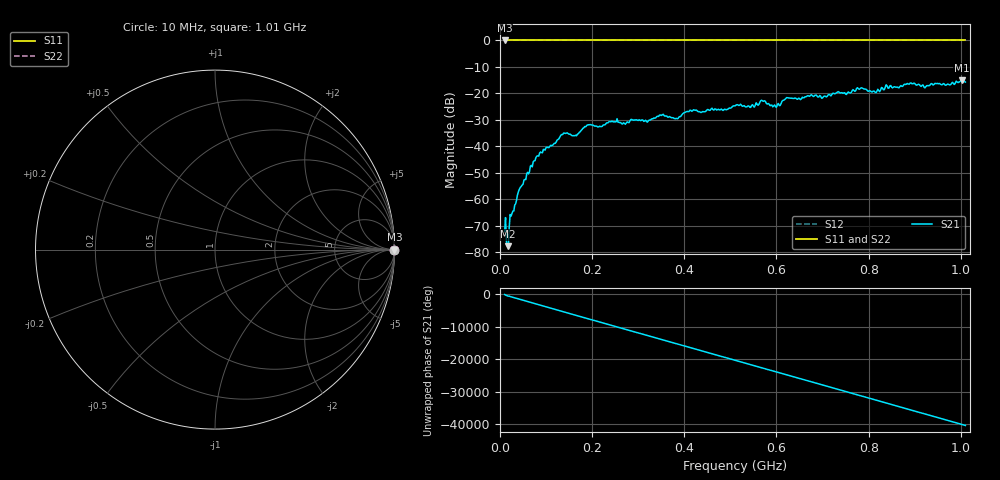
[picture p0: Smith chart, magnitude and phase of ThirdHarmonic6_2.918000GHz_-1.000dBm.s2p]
! 8/17/2025 8:06:50 AM
! C:\ANRITSUVNA\TEMP\TEMP.S2P
! CHANNEL.1
! TR.MEASUREMENT
! RAW.DATA
! RF.CORRECTION.OFF
! AVERAGING.OFF
! IF.BANDWIDTH: 5KHZ
! SWEEPTYPE:  FREQ.SWEEP(Linear)
! Reference Plane Port Info
! PORT:  PORT1  PORT2
! DISTANCE:  0  m  0  m
! TIME:  0  s  0  s
! PHASE.OFFSET:  0  deg.  0  deg.
! LOSS:  0  dB  0  dB
! REF.LOSS:  0  dB  0  dB
! REF.FREQ:  0  Hz  0  Hz
! Power Info
! POWER:  -20  dBm  -20  dBm
! EFF.POWER:  -20  dBm  -20  dBm
! SOURCE.ATTEN:  0  dB  0  dB
! TEST.ATTEN:  0  dB  0  dB
# GHZ S RI R 50.0
! FREQ.GHZ  S11RE  S11IM  S21RE  S21IM  S12RE  S12IM  S22RE  S22IM
!; PortSelection: Port_12
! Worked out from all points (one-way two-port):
!   501 points, 10 MHz to 1.01 GHz, reference 50 ohm
!   highest |S21| = -15.05 dB at 1.002 GHz (marker M1); lowest = -77.7 dB at 18 MHz (marker M2)
!   lowest |S11| = 0.0 dB at 10 MHz (marker M3)
!   |S11| at or under -10 dB: nowhere
!   |S22| runs from 0.0 to 0.0 dB; largest |S21 - S12| = 1.2
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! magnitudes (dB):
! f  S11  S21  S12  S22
! 10 MHz  0.0  -72.4  0.0  0.0
! 14 MHz  0.0  -76.0  0.0  0.0
! 18 MHz  0.0  -77.7  0.0  0.0
! 24 MHz  0.0  -66.4  0.0  0.0
! 42 MHz  0.0  -56.2  0.0  0.0
! 76 MHz  0.0  -45.4  0.0  0.0
! 136 MHz  0.0  -35.5  0.0  0.0
! 162 MHz  0.0  -36.0  0.0  0.0
! 178 MHz  0.0  -33.6  0.0  0.0
! 192 MHz  0.0  -31.8  0.0  0.0
! 344 MHz  0.0  -28.7  0.0  0.0
! 382 MHz  0.0  -29.4  0.0  0.0
! 410 MHz  0.0  -26.9  0.0  0.0
! 510 MHz  0.0  -24.7  0.0  0.0
! 548 MHz  0.0  -24.3  0.0  0.0
! 570 MHz  0.0  -22.9  0.0  0.0
! 596 MHz  0.0  -24.4  0.0  0.0
! 624 MHz  0.0  -21.6  0.0  0.0
! 678 MHz  0.0  -20.8  0.0  0.0
! 844 MHz  0.0  -18.0  0.0  0.0
! 1.002 GHz  0.0  -15.1  0.0  0.0
! 1.01 GHz  0.0  -15.7  0.0  0.0
